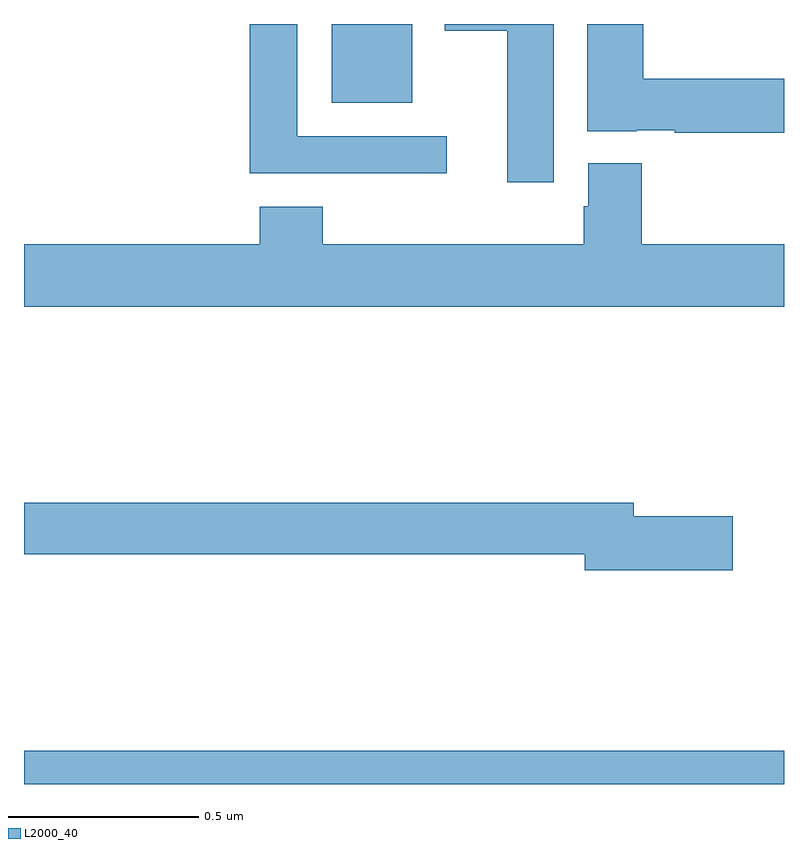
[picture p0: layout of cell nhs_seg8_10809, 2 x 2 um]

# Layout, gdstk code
import gdstk
lib = gdstk.Library(unit=1e-6, precision=1e-09)
def R(c, l, rs):  # rectangles x0, y0, x1, y1
    for r in rs: c.add(gdstk.rectangle(r[:2], r[2:], *l))
def P(c, l, *ps):  # polygons
    for p in ps: c.add(gdstk.Polygon(p, *l))
L2000_40 = (2000, 40)

nhs_seg8_10809 = lib.new_cell('nhs_seg8_10809')
R(nhs_seg8_10809, L2000_40, [(254,1125.9,256,1125.988), (254.81,1127.693,255.022,1127.9)])
P(nhs_seg8_10809, L2000_40, [(255.112,1127.604),(254.719,1127.604),(254.719,1127.9),(254.594,1127.9),(254.594,1127.507),(255.112,1127.507)],
  [(255.394,1127.9),(255.107,1127.9),(255.107,1127.882),(255.272,1127.882),(255.272,1127.484),(255.394,1127.484)],
  [(256,1127.756),(255.629,1127.756),(255.629,1127.9),(255.482,1127.9),(255.482,1127.618),(255.612,1127.618),(255.612,1127.621),(255.712,1127.621),(255.712,1127.614),(256,1127.614)],
  [(256,1127.32),(255.626,1127.32),(255.626,1127.533),(255.485,1127.533),(255.485,1127.421),(255.473,1127.421),(255.473,1127.32),(254.786,1127.32),(254.786,1127.419),(254.621,1127.419),(254.621,1127.32),(254,1127.32),(254,1127.156),(256,1127.156)],
  [(255.865,1126.604),(255.604,1126.604),(255.604,1126.64),(254,1126.64),(254,1126.504),(255.476,1126.504),(255.476,1126.462),(255.865,1126.462)])

lib.write_gds('nhs_seg8_10809.gds')
